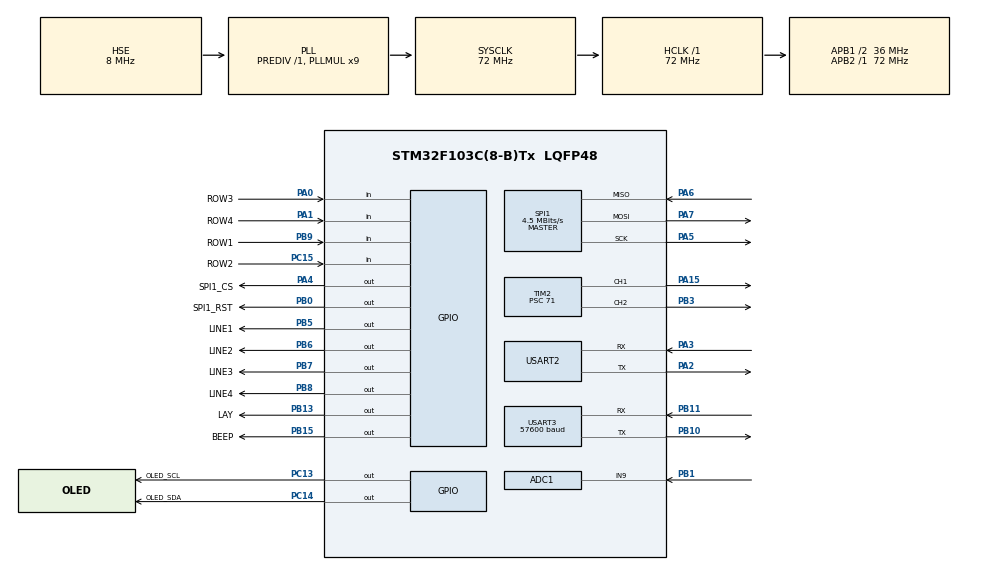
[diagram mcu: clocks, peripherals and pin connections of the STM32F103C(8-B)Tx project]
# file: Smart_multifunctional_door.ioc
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ADC1.Channel-0\#ChannelRegularConversion=ADC_CHANNEL_9
ADC1.NbrOfConversionFlag=1
ADC1.Rank-0\#ChannelRegularConversion=1
ADC1.SamplingTime-0\#ChannelRegularConversion=ADC_SAMPLETIME_239CYCLES_5
ADC1.master=1
Mcu.Family=STM32F1
Mcu.Name=STM32F103C(8-B)Tx
Mcu.Package=LQFP48
NVIC.PriorityGroup=NVIC_PRIORITYGROUP_4
NVIC.USART2_IRQn=true\:0\:0\:false\:false\:true\:true\:true\:true
NVIC.USART3_IRQn=true\:0\:0\:false\:false\:true\:true\:true\:true
PA0-WKUP.GPIO_Label=ROW3
PA0-WKUP.GPIO_PuPd=GPIO_PULLUP
PA0-WKUP.Signal=GPIO_Input
PA1.GPIO_Label=ROW4
PA1.GPIO_PuPd=GPIO_PULLUP
PA1.Signal=GPIO_Input
PA13.Mode=Serial_Wire
PA13.Signal=SYS_JTMS-SWDIO
PA14.Mode=Serial_Wire
PA14.Signal=SYS_JTCK-SWCLK
PA15.Signal=S_TIM2_CH1_ETR
PA2.Mode=Asynchronous
PA2.Signal=USART2_TX
PA3.Mode=Asynchronous
PA3.Signal=USART2_RX
PA4.GPIO_Label=SPI1_CS
PA4.GPIO_PuPd=GPIO_PULLUP
PA4.GPIO_Speed=GPIO_SPEED_FREQ_HIGH
PA4.PinState=GPIO_PIN_SET
PA4.Signal=GPIO_Output
PA5.Mode=Full_Duplex_Master
PA5.Signal=SPI1_SCK
PA6.Mode=Full_Duplex_Master
PA6.Signal=SPI1_MISO
PA7.Mode=Full_Duplex_Master
PA7.Signal=SPI1_MOSI
PB0.GPIO_Label=SPI1_RST
PB0.GPIO_ModeDefaultOutputPP=GPIO_MODE_OUTPUT_PP
PB0.GPIO_PuPd=GPIO_PULLUP
PB0.GPIO_Speed=GPIO_SPEED_FREQ_HIGH
PB0.PinState=GPIO_PIN_SET
PB0.Signal=GPIO_Output
PB1.Signal=ADCx_IN9
PB10.Mode=Asynchronous
PB10.Signal=USART3_TX
PB11.Mode=Asynchronous
PB11.Signal=USART3_RX
PB13.GPIO_Label=LAY
PB13.GPIO_ModeDefaultOutputPP=GPIO_MODE_OUTPUT_PP
PB13.GPIO_PuPd=GPIO_PULLDOWN
PB13.GPIO_Speed=GPIO_SPEED_FREQ_HIGH
PB13.PinState=GPIO_PIN_SET
PB13.Signal=GPIO_Output
PB15.GPIO_Label=BEEP
PB15.GPIO_ModeDefaultOutputPP=GPIO_MODE_OUTPUT_PP
PB15.GPIO_PuPd=GPIO_PULLUP
PB15.GPIO_Speed=GPIO_SPEED_FREQ_HIGH
PB15.PinState=GPIO_PIN_SET
PB15.Signal=GPIO_Output
PB3.Signal=S_TIM2_CH2
PB5.GPIO_Label=LINE1
PB5.GPIO_ModeDefaultOutputPP=GPIO_MODE_OUTPUT_PP
PB5.GPIO_PuPd=GPIO_NOPULL
PB5.GPIO_Speed=GPIO_SPEED_FREQ_HIGH
PB5.PinState=GPIO_PIN_SET
PB5.Signal=GPIO_Output
PB6.GPIO_Label=LINE2
PB6.GPIO_PuPd=GPIO_NOPULL
PB6.GPIO_Speed=GPIO_SPEED_FREQ_HIGH
PB6.PinState=GPIO_PIN_SET
PB6.Signal=GPIO_Output
PB7.GPIO_Label=LINE3
PB7.GPIO_Speed=GPIO_SPEED_FREQ_HIGH
PB7.Signal=GPIO_Output
PB8.GPIO_Label=LINE4
PB8.GPIO_Speed=GPIO_SPEED_FREQ_HIGH
PB8.PinState=GPIO_PIN_SET
PB8.Signal=GPIO_Output
PB9.GPIO_Label=ROW1
PB9.GPIO_PuPd=GPIO_PULLUP
PB9.Signal=GPIO_Input
PC13-TAMPER-RTC.GPIO_Label=OLED_SCL
PC13-TAMPER-RTC.GPIO_PuPd=GPIO_PULLUP
PC13-TAMPER-RTC.GPIO_Speed=GPIO_SPEED_FREQ_HIGH
PC13-TAMPER-RTC.PinState=GPIO_PIN_SET
PC13-TAMPER-RTC.Signal=GPIO_Output
PC14-OSC32_IN.GPIO_Label=OLED_SDA
PC14-OSC32_IN.GPIO_ModeDefaultOutputPP=GPIO_MODE_OUTPUT_PP
PC14-OSC32_IN.GPIO_PuPd=GPIO_PULLUP
PC14-OSC32_IN.GPIO_Speed=GPIO_SPEED_FREQ_HIGH
PC14-OSC32_IN.PinState=GPIO_PIN_SET
PC14-OSC32_IN.Signal=GPIO_Output
PC15-OSC32_OUT.GPIO_Label=ROW2
PC15-OSC32_OUT.GPIO_PuPd=GPIO_PULLUP
PC15-OSC32_OUT.Signal=GPIO_Input
PD0-OSC_IN.Mode=HSE-External-Oscillator
PD0-OSC_IN.Signal=RCC_OSC_IN
PD1-OSC_OUT.Mode=HSE-External-Oscillator
PD1-OSC_OUT.Signal=RCC_OSC_OUT
ProjectManager.HeapSize=0x200
ProjectManager.StackSize=0x400
ProjectManager.TargetToolchain=MDK-ARM V5.32
RCC.ADCPresc=RCC_ADCPCLK2_DIV6
RCC.AHBFreq_Value=72000000
RCC.APB1CLKDivider=RCC_HCLK_DIV2
RCC.APB1Freq_Value=36000000
RCC.APB1TimFreq_Value=72000000
RCC.APB2Freq_Value=72000000
RCC.APB2TimFreq_Value=72000000
RCC.HCLKFreq_Value=72000000
RCC.PLLMUL=RCC_PLL_MUL9
RCC.PLLSourceVirtual=RCC_PLLSOURCE_HSE
RCC.SYSCLKFreq_VALUE=72000000
RCC.SYSCLKSource=RCC_SYSCLKSOURCE_PLLCLK
RCC.USBFreq_Value=72000000
SH.ADCx_IN9.0=ADC1_IN9,IN9
SH.S_TIM2_CH1_ETR.0=TIM2_CH1,PWM Generation1 CH1
SH.S_TIM2_CH2.0=TIM2_CH2,PWM Generation2 CH2
SPI1.BaudRatePrescaler=SPI_BAUDRATEPRESCALER_16
SPI1.CalculateBaudRate=4.5 MBits/s
SPI1.Direction=SPI_DIRECTION_2LINES
SPI1.Mode=SPI_MODE_MASTER
SPI1.VirtualType=VM_MASTER
TIM2.AutoReloadPreload=TIM_AUTORELOAD_PRELOAD_ENABLE
TIM2.Channel-PWM\ Generation1\ CH1=TIM_CHANNEL_1
TIM2.Channel-PWM\ Generation2\ CH2=TIM_CHANNEL_2
TIM2.Period=19999
TIM2.Prescaler=71
USART2.VirtualMode=VM_ASYNC
USART3.BaudRate=57600
USART3.VirtualMode=VM_ASYNC
VP_TIM2_VS_ClockSourceINT.Mode=Internal
board=custom

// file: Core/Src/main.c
/* USER CODE BEGIN Header */
/**
  ******************************************************************************
  * @file           : main.c
  * @brief          : Main program body
  ******************************************************************************
  * @attention
  *
  * Copyright (c) 2026 STMicroelectronics.
  * All rights reserved.
  *
  * This software is licensed under terms that can be found in the LICENSE file
  * in the root directory of this software component.
  * If no LICENSE file comes with this software, it is provided AS-IS.
  *
  ******************************************************************************
  */
/* USER CODE END Header */
#include "main.h"
#include "adc.h"
#include "spi.h"
#include "tim.h"
#include "usart.h"
#include "gpio.h"

/* USER CODE BEGIN Includes */
#include "oled.h"
#include "RC522.h"
#include "AS608.h"
#include "ui.h"
#include "flash.h"
#include <stdio.h>
/* USER CODE END Includes */

void SystemClock_Config(void);

/* USER CODE BEGIN 0 */
uint8_t Key_Scan(void)
{
    uint8_t key = 0;

    // 扫描第1行
    HAL_GPIO_WritePin(LINE1_GPIO_Port, LINE1_Pin, GPIO_PIN_RESET);
    HAL_GPIO_WritePin(LINE2_GPIO_Port, LINE2_Pin, GPIO_PIN_SET);
    HAL_GPIO_WritePin(LINE3_GPIO_Port, LINE3_Pin, GPIO_PIN_SET);
    HAL_GPIO_WritePin(LINE4_GPIO_Port, LINE4_Pin, GPIO_PIN_SET);
    if(HAL_GPIO_ReadPin(ROW1_GPIO_Port, ROW1_Pin) == GPIO_PIN_RESET) {key = 1;}
    if(HAL_GPIO_ReadPin(ROW2_GPIO_Port, ROW2_Pin) == GPIO_PIN_RESET) {key = 2;}
    if(HAL_GPIO_ReadPin(ROW3_GPIO_Port, ROW3_Pin) == GPIO_PIN_RESET) {key = 3;}
    if(HAL_GPIO_ReadPin(ROW4_GPIO_Port, ROW4_Pin) == GPIO_PIN_RESET) {key = 4;}

    // 扫描第2行
    HAL_GPIO_WritePin(LINE1_GPIO_Port, LINE1_Pin, GPIO_PIN_SET);
    HAL_GPIO_WritePin(LINE2_GPIO_Port, LINE2_Pin, GPIO_PIN_RESET);
    HAL_GPIO_WritePin(LINE3_GPIO_Port, LINE3_Pin, GPIO_PIN_SET);
    HAL_GPIO_WritePin(LINE4_GPIO_Port, LINE4_Pin, GPIO_PIN_SET);
    if(HAL_GPIO_ReadPin(ROW1_GPIO_Port, ROW1_Pin) == GPIO_PIN_RESET) {key = 5;}
    if(HAL_GPIO_ReadPin(ROW2_GPIO_Port, ROW2_Pin) == GPIO_PIN_RESET) {key = 6;}
    if(HAL_GPIO_ReadPin(ROW3_GPIO_Port, ROW3_Pin) == GPIO_PIN_RESET) {key = 7;}
    if(HAL_GPIO_ReadPin(ROW4_GPIO_Port, ROW4_Pin) == GPIO_PIN_RESET) {key = 8;}

    // 扫描第3行
    HAL_GPIO_WritePin(LINE1_GPIO_Port, LINE1_Pin, GPIO_PIN_SET);
    HAL_GPIO_WritePin(LINE2_GPIO_Port, LINE2_Pin, GPIO_PIN_SET);
    HAL_GPIO_WritePin(LINE3_GPIO_Port, LINE3_Pin, GPIO_PIN_RESET);
    HAL_GPIO_WritePin(LINE4_GPIO_Port, LINE4_Pin, GPIO_PIN_SET);
    if(HAL_GPIO_ReadPin(ROW1_GPIO_Port, ROW1_Pin) == GPIO_PIN_RESET) {key = 9;}
    if(HAL_GPIO_ReadPin(ROW2_GPIO_Port, ROW2_Pin) == GPIO_PIN_RESET) {key = 10;}
    if(HAL_GPIO_ReadPin(ROW3_GPIO_Port, ROW3_Pin) == GPIO_PIN_RESET) {key = 11;}
    if(HAL_GPIO_ReadPin(ROW4_GPIO_Port, ROW4_Pin) == GPIO_PIN_RESET) {key = 12;}

    // 扫描第4行
    HAL_GPIO_WritePin(LINE1_GPIO_Port, LINE1_Pin, GPIO_PIN_SET);
    HAL_GPIO_WritePin(LINE2_GPIO_Port, LINE2_Pin, GPIO_PIN_SET);
    HAL_GPIO_WritePin(LINE3_GPIO_Port, LINE3_Pin, GPIO_PIN_SET);
    HAL_GPIO_WritePin(LINE4_GPIO_Port, LINE4_Pin, GPIO_PIN_RESET);
    if(HAL_GPIO_ReadPin(ROW1_GPIO_Port, ROW1_Pin) == GPIO_PIN_RESET) {key = 13;}
    if(HAL_GPIO_ReadPin(ROW2_GPIO_Port, ROW2_Pin) == GPIO_PIN_RESET) {key = 14;}
    if(HAL_GPIO_ReadPin(ROW3_GPIO_Port, ROW3_Pin) == GPIO_PIN_RESET) {key = 15;}
    if(HAL_GPIO_ReadPin(ROW4_GPIO_Port, ROW4_Pin) == GPIO_PIN_RESET) {key = 16;}

    return key;
}
/* USER CODE END 0 */

int main(void)
{

  /* MCU Configuration--------------------------------------------------------*/

  /* Reset of all peripherals, Initializes the Flash interface and the Systick. */
  HAL_Init();

  /* Configure the system clock */
  SystemClock_Config();

  /* Initialize all configured peripherals */
  MX_GPIO_Init();
  MX_SPI1_Init();
  MX_USART3_UART_Init();
  MX_ADC1_Init();
  MX_TIM2_Init();
  MX_USART2_UART_Init();
  /* USER CODE BEGIN 2 */
	  HAL_GPIO_WritePin(GPIOB, LAY_Pin, GPIO_PIN_RESET);
  OLED_Init();
  Flash_Init();

  // 初始化UI（不显示界面）
  UI_Init();

  // 初始化串口接收中断
  UI_InitUartRx();

  // 初始化SG90舵机
  UI_InitServo();

  // 调试：显示Flash中存储的卡片信息
  UI_DebugShowCards();

  // 检查是否有两个NFC卡已注册，如果有直接进入选择模式
  if(UI_CheckTwoCards())
  {
    UI_EnterSelectMode();
  }
  else
  {
    // 否则显示主菜单
    UI_DisplayIdle();
  }

  PCD_Init();
  AS608_Init();
  /* USER CODE END 2 */

  /* Infinite loop */
  while (1)
  {

    /* USER CODE BEGIN 3 */
    static uint8_t lastKey = 0;
    uint8_t key = Key_Scan();

    if(key != 0 && key != lastKey)
    {
        UI_HandleKey(key);
    }
    lastKey = key;

    UI_Process();

    HAL_Delay(50);
  }
  /* USER CODE END 3 */
}

void SystemClock_Config(void)
{
  RCC_OscInitTypeDef RCC_OscInitStruct = {0};
  RCC_ClkInitTypeDef RCC_ClkInitStruct = {0};
  RCC_PeriphCLKInitTypeDef PeriphClkInit = {0};

  /** Initializes the RCC Oscillators according to the specified parameters
  * in the RCC_OscInitTypeDef structure.
  */
  RCC_OscInitStruct.OscillatorType = RCC_OSCILLATORTYPE_HSE;
  RCC_OscInitStruct.HSEState = RCC_HSE_ON;
  RCC_OscInitStruct.HSEPredivValue = RCC_HSE_PREDIV_DIV1;
  RCC_OscInitStruct.HSIState = RCC_HSI_ON;
  RCC_OscInitStruct.PLL.PLLState = RCC_PLL_ON;
  RCC_OscInitStruct.PLL.PLLSource = RCC_PLLSOURCE_HSE;
  RCC_OscInitStruct.PLL.PLLMUL = RCC_PLL_MUL9;
  if (HAL_RCC_OscConfig(&RCC_OscInitStruct) != HAL_OK)
  {
    Error_Handler();
  }

  /** Initializes the CPU, AHB and APB buses clocks
  */
  RCC_ClkInitStruct.ClockType = RCC_CLOCKTYPE_HCLK|RCC_CLOCKTYPE_SYSCLK
                              |RCC_CLOCKTYPE_PCLK1|RCC_CLOCKTYPE_PCLK2;
  RCC_ClkInitStruct.SYSCLKSource = RCC_SYSCLKSOURCE_PLLCLK;
  RCC_ClkInitStruct.AHBCLKDivider = RCC_SYSCLK_DIV1;
  RCC_ClkInitStruct.APB1CLKDivider = RCC_HCLK_DIV2;
  RCC_ClkInitStruct.APB2CLKDivider = RCC_HCLK_DIV1;

  if (HAL_RCC_ClockConfig(&RCC_ClkInitStruct, FLASH_LATENCY_2) != HAL_OK)
  {
    Error_Handler();
  }
  PeriphClkInit.PeriphClockSelection = RCC_PERIPHCLK_ADC;
  PeriphClkInit.AdcClockSelection = RCC_ADCPCLK2_DIV6;
  if (HAL_RCCEx_PeriphCLKConfig(&PeriphClkInit) != HAL_OK)
  {
    Error_Handler();
  }
}

void Error_Handler(void)
{
  __disable_irq();
  while (1)
  {
  }
}
